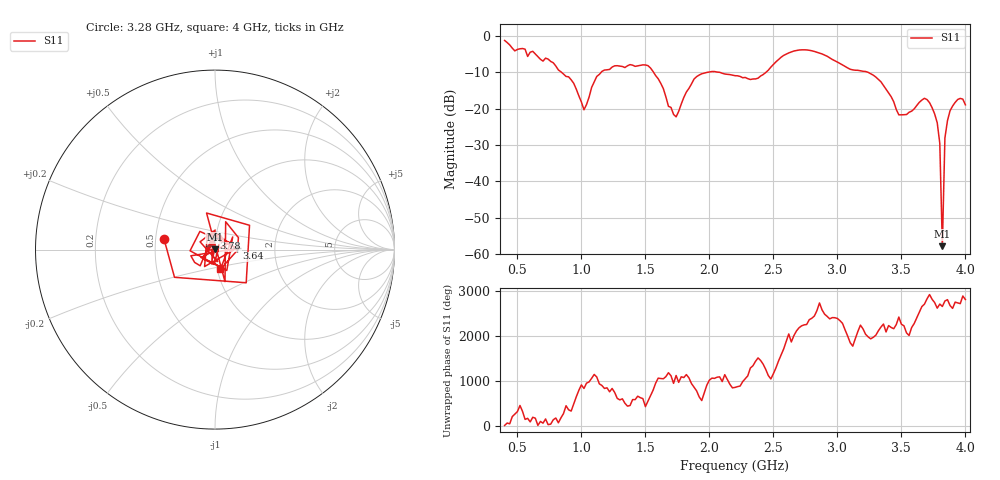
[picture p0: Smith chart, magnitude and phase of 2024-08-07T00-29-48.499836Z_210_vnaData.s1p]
!Created with skrf (http://scikit-rf.org).
# Hz S RI R 50.0
!freq ReS11 ImS11
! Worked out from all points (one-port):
!   181 points, 400 MHz to 4 GHz, reference 50 ohm
!   lowest |S11| = -57.9 dB at 3.82 GHz (marker M1), VSWR 1.00, Z = 49.9 + j0.0951 ohm
!   |S11| at or under -10 dB: 1.564 GHz to 1.98 GHz (415.3 MHz wide, 23.4 % of centre); 2.083 GHz to 2.441 GHz (357.9 MHz wide, 15.8 % of centre); 3.241 GHz to end of sweep (the widest 3 of 4)
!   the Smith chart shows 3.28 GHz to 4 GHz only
!   S11 on the Smith chart (normalised r, x): 3.28 GHz: 0.55, +0.07; 3.64 GHz: 1.28, +0.02; 3.78 GHz: 0.98, +0.13; 4 GHz: 1.04, -0.23
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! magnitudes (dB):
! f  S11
! 400 MHz  -1.2
! 860 MHz  -10.4
! 940 MHz  -13.0
! 1.02 GHz  -20.3
! 1.12 GHz  -11.1
! 1.3 GHz  -8.3
! 1.52 GHz  -8.1
! 1.62 GHz  -13.0
! 1.72 GHz  -21.6
! 1.76 GHz  -20.7
! 1.92 GHz  -10.7
! 2.2 GHz  -10.9
! 2.38 GHz  -11.6
! 2.66 GHz  -4.1
! 2.86 GHz  -4.6
! 3.1 GHz  -9.1
! 3.28 GHz  -10.7
! 3.48 GHz  -21.7
! 3.56 GHz  -21.0
! 3.64 GHz  -18.2
! 3.7 GHz  -17.5
! 3.78 GHz  -23.9
! 3.8 GHz  -29.5
! 3.82 GHz  -57.9
! 3.84 GHz  -28.0
! 3.86 GHz  -23.3
! 3.94 GHz  -17.5
! 4 GHz  -18.9
